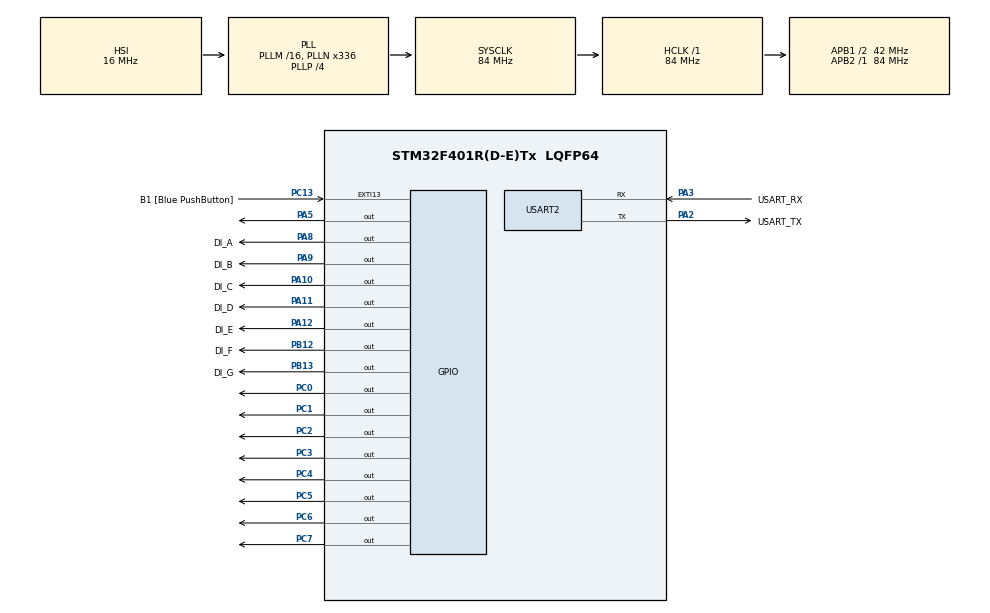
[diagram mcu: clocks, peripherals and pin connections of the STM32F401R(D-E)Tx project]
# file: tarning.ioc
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Mcu.Family=STM32F4
Mcu.Name=STM32F401R(D-E)Tx
Mcu.Package=LQFP64
NVIC.PriorityGroup=NVIC_PRIORITYGROUP_0
PA10.GPIO_Label=DI_C
PA10.Signal=GPIO_Output
PA11.GPIO_Label=DI_D
PA11.Signal=GPIO_Output
PA12.GPIO_Label=DI_E
PA12.Signal=GPIO_Output
PA13.GPIO_Label=TMS
PA13.Mode=Serial_Wire
PA13.Signal=SYS_JTMS-SWDIO
PA14.GPIO_Label=TCK
PA14.Mode=Serial_Wire
PA14.Signal=SYS_JTCK-SWCLK
PA2.GPIO_Label=USART_TX
PA2.GPIO_Mode=GPIO_MODE_AF_PP
PA2.GPIO_PuPd=GPIO_NOPULL
PA2.GPIO_Speed=GPIO_SPEED_FREQ_LOW
PA2.Mode=Asynchronous
PA2.Signal=USART2_TX
PA3.GPIO_Label=USART_RX
PA3.GPIO_Mode=GPIO_MODE_AF_PP
PA3.GPIO_PuPd=GPIO_NOPULL
PA3.GPIO_Speed=GPIO_SPEED_FREQ_LOW
PA3.Mode=Asynchronous
PA3.Signal=USART2_RX
PA5.GPIO_Mode=GPIO_MODE_OUTPUT_PP
PA5.GPIO_PuPd=GPIO_NOPULL
PA5.GPIO_Speed=GPIO_SPEED_FREQ_LOW
PA5.Signal=GPIO_Output
PA8.GPIO_Label=DI_A
PA8.Signal=GPIO_Output
PA9.GPIO_Label=DI_B
PA9.Signal=GPIO_Output
PB12.GPIO_Label=DI_F
PB12.Signal=GPIO_Output
PB13.GPIO_Label=DI_G
PB13.Signal=GPIO_Output
PB3.GPIO_Label=SWO
PB3.Signal=SYS_JTDO-SWO
PC0.Signal=GPIO_Output
PC1.Signal=GPIO_Output
PC13-ANTI_TAMP.GPIO_Label=B1 [Blue PushButton]
PC13-ANTI_TAMP.GPIO_ModeDefaultEXTI=GPIO_MODE_IT_FALLING
PC13-ANTI_TAMP.GPIO_PuPd=GPIO_NOPULL
PC13-ANTI_TAMP.Signal=GPXTI13
PC14-OSC32_IN.Mode=LSE-External-Oscillator
PC14-OSC32_IN.Signal=RCC_OSC32_IN
PC15-OSC32_OUT.Mode=LSE-External-Oscillator
PC15-OSC32_OUT.Signal=RCC_OSC32_OUT
PC2.Signal=GPIO_Output
PC3.Signal=GPIO_Output
PC4.Signal=GPIO_Output
PC5.Signal=GPIO_Output
PC6.Signal=GPIO_Output
PC7.Signal=GPIO_Output
PH0\ -\ OSC_IN.Mode=HSE-External-Clock-Source
PH0\ -\ OSC_IN.Signal=RCC_OSC_IN
PH1\ -\ OSC_OUT.Mode=HSE-External-Clock-Source
PH1\ -\ OSC_OUT.Signal=RCC_OSC_OUT
ProjectManager.HeapSize=0x200
ProjectManager.StackSize=0x400
ProjectManager.TargetToolchain=STM32CubeIDE
RCC.48MHZClocksFreq_Value=48000000
RCC.AHBFreq_Value=84000000
RCC.APB1CLKDivider=RCC_HCLK_DIV2
RCC.APB1Freq_Value=42000000
RCC.APB1TimFreq_Value=84000000
RCC.APB2Freq_Value=84000000
RCC.APB2TimFreq_Value=84000000
RCC.CortexFreq_Value=84000000
RCC.HCLKFreq_Value=84000000
RCC.HSE_VALUE=8000000
RCC.HSI_VALUE=16000000
RCC.PLLN=336
RCC.PLLP=RCC_PLLP_DIV4
RCC.PLLQ=7
RCC.SYSCLKFreq_VALUE=84000000
RCC.SYSCLKSource=RCC_SYSCLKSOURCE_PLLCLK
RCC.VCOOutputFreq_Value=336000000
USART2.VirtualMode=VM_ASYNC
board=NUCLEO-F401RE

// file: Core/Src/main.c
/* USER CODE BEGIN Header */
/**
  ******************************************************************************
  * @file           : main.c
  * @brief          : Main program body
  ******************************************************************************
  * @attention
  *
  * Copyright (c) 2024 STMicroelectronics.
  * All rights reserved.
  *
  * This software is licensed under terms that can be found in the LICENSE file
  * in the root directory of this software component.
  * If no LICENSE file comes with this software, it is provided AS-IS.
  *
  ******************************************************************************
  */

/* USER CODE END Header */
#include "main.h"

UART_HandleTypeDef huart2;

void SystemClock_Config(void);
static void MX_GPIO_Init(void);
static void MX_USART2_UART_Init(void);
/* USER CODE BEGIN PFP */
int is_blue_button_pressed();
void put_on_sseg(uint8_t dec_nbr);
void put_die_dots(uint8_t die_nbr);
/* USER CODE END PFP */

/* USER CODE BEGIN 0 */

const uint8_t sseg[10] = {0xC0, 0xCF, 0xA4, 0xB0, 0x99, 0x92, 0x82, 0xF8, 0x80, 0x90};
const uint8_t sseg_err = 0x23;

/* Function to display a digit on the 7-segment display */
void put_on_sseg(uint8_t dec_nbr) {
    if (dec_nbr <= 9) {
        // Write the correct value to the lower 8 bits of GPIOC->ODR
        GPIOC->ODR = (GPIOC->ODR & ~0xFF) | sseg[dec_nbr];
    } else {
        // Error pattern
        GPIOC->ODR = (GPIOC->ODR & ~0xFF) | sseg_err;
    }
}

// returns 1 if blue button is pressed
// returns 0 if blue button isn't pressed
int is_blue_button_pressed()
{
    // Kontrollera status för pinne 13 på GPIOC (PC13)
    if (GPIOC->IDR & (1 << 13))
    {
        return 0; // Knappen är nedtryckt (bit är satt)
    }
    else
    {
        return 1; // Knappen är inte nedtryckt (bit är ej satt)
    }
}

void put_die_dots(uint8_t die_nbr) {
    // Stäng av alla dioder först
    HAL_GPIO_WritePin(DI_A_GPIO_Port, DI_A_Pin, GPIO_PIN_RESET);
    HAL_GPIO_WritePin(DI_B_GPIO_Port, DI_B_Pin, GPIO_PIN_RESET);
    HAL_GPIO_WritePin(DI_C_GPIO_Port, DI_C_Pin, GPIO_PIN_RESET);
    HAL_GPIO_WritePin(DI_D_GPIO_Port, DI_D_Pin, GPIO_PIN_RESET);
    HAL_GPIO_WritePin(DI_E_GPIO_Port, DI_E_Pin, GPIO_PIN_RESET);
    HAL_GPIO_WritePin(DI_F_GPIO_Port, DI_F_Pin, GPIO_PIN_RESET);
    HAL_GPIO_WritePin(DI_G_GPIO_Port, DI_G_Pin, GPIO_PIN_RESET);

    // Tänd rätt dioder beroende på tärningsvärdet
    switch (die_nbr) {
        case 1:
            HAL_GPIO_WritePin(DI_D_GPIO_Port, DI_D_Pin, GPIO_PIN_SET); //
            break;
        case 2:
            HAL_GPIO_WritePin(DI_A_GPIO_Port, DI_A_Pin, GPIO_PIN_SET);  //
            HAL_GPIO_WritePin(DI_G_GPIO_Port, DI_G_Pin, GPIO_PIN_SET); //
            break;
        case 3:
            HAL_GPIO_WritePin(DI_A_GPIO_Port, DI_A_Pin, GPIO_PIN_SET);  //
            HAL_GPIO_WritePin(DI_D_GPIO_Port, DI_D_Pin, GPIO_PIN_SET); //
            HAL_GPIO_WritePin(DI_G_GPIO_Port, DI_G_Pin, GPIO_PIN_SET); //
            break;
        case 4:
            HAL_GPIO_WritePin(DI_A_GPIO_Port, DI_A_Pin, GPIO_PIN_SET);  //
            HAL_GPIO_WritePin(DI_B_GPIO_Port, DI_B_Pin, GPIO_PIN_SET);  //
            HAL_GPIO_WritePin(DI_E_GPIO_Port, DI_E_Pin, GPIO_PIN_SET); //
            HAL_GPIO_WritePin(DI_G_GPIO_Port, DI_G_Pin, GPIO_PIN_SET); //
            break;
        case 5:
            HAL_GPIO_WritePin(DI_A_GPIO_Port, DI_A_Pin, GPIO_PIN_SET);  //
            HAL_GPIO_WritePin(DI_B_GPIO_Port,DI_B_Pin, GPIO_PIN_SET);  //
            HAL_GPIO_WritePin(DI_D_GPIO_Port, DI_D_Pin, GPIO_PIN_SET); //
            HAL_GPIO_WritePin(DI_E_GPIO_Port, DI_E_Pin, GPIO_PIN_SET); //
            HAL_GPIO_WritePin(DI_G_GPIO_Port, DI_G_Pin, GPIO_PIN_SET); //
            break;
        case 6:
            HAL_GPIO_WritePin(DI_A_GPIO_Port, DI_A_Pin, GPIO_PIN_SET);  //
            HAL_GPIO_WritePin(DI_B_GPIO_Port,DI_B_Pin, GPIO_PIN_SET);  //
            HAL_GPIO_WritePin(DI_C_GPIO_Port, DI_C_Pin, GPIO_PIN_SET); //
            HAL_GPIO_WritePin(DI_F_GPIO_Port, DI_F_Pin, GPIO_PIN_SET); //
            HAL_GPIO_WritePin(DI_E_GPIO_Port, DI_E_Pin, GPIO_PIN_SET); //
            HAL_GPIO_WritePin(DI_G_GPIO_Port, DI_G_Pin, GPIO_PIN_SET); //
            break;
        default:
            // Om ogiltigt värde, tänd alla dioder
            HAL_GPIO_WritePin(DI_A_GPIO_Port, DI_A_Pin, GPIO_PIN_SET);
            HAL_GPIO_WritePin(DI_B_GPIO_Port,DI_B_Pin, GPIO_PIN_SET);
            HAL_GPIO_WritePin(DI_C_GPIO_Port, DI_C_Pin, GPIO_PIN_SET);
            HAL_GPIO_WritePin(DI_D_GPIO_Port, DI_D_Pin, GPIO_PIN_SET);
            HAL_GPIO_WritePin(DI_E_GPIO_Port, DI_E_Pin, GPIO_PIN_SET);
            HAL_GPIO_WritePin(DI_F_GPIO_Port, DI_F_Pin, GPIO_PIN_SET);
            HAL_GPIO_WritePin(DI_G_GPIO_Port, DI_G_Pin, GPIO_PIN_SET);
            break;
    }
}

/* USER CODE END 0 */

int main(void)
{

  /* MCU Configuration--------------------------------------------------------*/

  /* Reset of all peripherals, Initializes the Flash interface and the Systick. */
  HAL_Init();

  /* Configure the system clock */
  SystemClock_Config();

  /* Initialize all configured peripherals */
  MX_GPIO_Init();
  MX_USART2_UART_Init();

  /* USER CODE BEGIN 2 */
  for (uint8_t i = 0; i <= 9; i++) {
          put_on_sseg(i);
          HAL_Delay(333);  // 333 ms delay mellan varje siffra
      }
      put_on_sseg(88);  // Felmönster ska visas
  /* USER CODE END 2 */

  /* Infinite loop */
  /* USER DE BEGIN WHILE */

  uint8_t die_value = 1; // Startvärde för tärningen
   int pressed = 0;

   while (1)
   {
       pressed = is_blue_button_pressed();
       if (pressed)
       {
           // Öka tärningsvärdet när knappen är nedtryckt
           die_value++;
           if (die_value > 6) {
              die_value = 1; // Återställ till 1 om värdet blir mer än 6
           }

           // Sätt dioderna för att visa tärningsvärdet
           put_die_dots(die_value);
           put_on_sseg(die_value);
          // put_on_sseg(die_value);

           HAL_Delay(100);

       }

   }
 }

    /* USER CODE END WHILE */

void SystemClock_Config(void)
{
  RCC_OscInitTypeDef RCC_OscInitStruct = {0};
  RCC_ClkInitTypeDef RCC_ClkInitStruct = {0};

  /** Configure the main internal regulator output voltage
  */
  __HAL_RCC_PWR_CLK_ENABLE();
  __HAL_PWR_VOLTAGESCALING_CONFIG(PWR_REGULATOR_VOLTAGE_SCALE2);

  /** Initializes the RCC Oscillators according to the specified parameters
  * in the RCC_OscInitTypeDef structure.
  */
  RCC_OscInitStruct.OscillatorType = RCC_OSCILLATORTYPE_HSI;
  RCC_OscInitStruct.HSIState = RCC_HSI_ON;
  RCC_OscInitStruct.HSICalibrationValue = RCC_HSICALIBRATION_DEFAULT;
  RCC_OscInitStruct.PLL.PLLState = RCC_PLL_ON;
  RCC_OscInitStruct.PLL.PLLSource = RCC_PLLSOURCE_HSI;
  RCC_OscInitStruct.PLL.PLLM = 16;
  RCC_OscInitStruct.PLL.PLLN = 336;
  RCC_OscInitStruct.PLL.PLLP = RCC_PLLP_DIV4;
  RCC_OscInitStruct.PLL.PLLQ = 7;
  if (HAL_RCC_OscConfig(&RCC_OscInitStruct) != HAL_OK)
  {
    Error_Handler();
  }

  /** Initializes the CPU, AHB and APB buses clocks
  */
  RCC_ClkInitStruct.ClockType = RCC_CLOCKTYPE_HCLK|RCC_CLOCKTYPE_SYSCLK
                              |RCC_CLOCKTYPE_PCLK1|RCC_CLOCKTYPE_PCLK2;
  RCC_ClkInitStruct.SYSCLKSource = RCC_SYSCLKSOURCE_PLLCLK;
  RCC_ClkInitStruct.AHBCLKDivider = RCC_SYSCLK_DIV1;
  RCC_ClkInitStruct.APB1CLKDivider = RCC_HCLK_DIV2;
  RCC_ClkInitStruct.APB2CLKDivider = RCC_HCLK_DIV1;

  if (HAL_RCC_ClockConfig(&RCC_ClkInitStruct, FLASH_LATENCY_2) != HAL_OK)
  {
    Error_Handler();
  }
}

static void MX_USART2_UART_Init(void)
{

  huart2.Instance = USART2;
  huart2.Init.BaudRate = 115200;
  huart2.Init.WordLength = UART_WORDLENGTH_8B;
  huart2.Init.StopBits = UART_STOPBITS_1;
  huart2.Init.Parity = UART_PARITY_NONE;
  huart2.Init.Mode = UART_MODE_TX_RX;
  huart2.Init.HwFlowCtl = UART_HWCONTROL_NONE;
  huart2.Init.OverSampling = UART_OVERSAMPLING_16;
  if (HAL_UART_Init(&huart2) != HAL_OK)
  {
    Error_Handler();
  }

}

static void MX_GPIO_Init(void)
{
  GPIO_InitTypeDef GPIO_InitStruct = {0};

  /* GPIO Ports Clock Enable */
  __HAL_RCC_GPIOC_CLK_ENABLE();
  __HAL_RCC_GPIOH_CLK_ENABLE();
  __HAL_RCC_GPIOA_CLK_ENABLE();
  __HAL_RCC_GPIOB_CLK_ENABLE();

  /*Configure GPIO pin Output Level */
  HAL_GPIO_WritePin(GPIOC, GPIO_PIN_0|GPIO_PIN_1|GPIO_PIN_2|GPIO_PIN_3
                          |GPIO_PIN_4|GPIO_PIN_5|GPIO_PIN_6|GPIO_PIN_7, GPIO_PIN_RESET);

  /*Configure GPIO pin Output Level */
  HAL_GPIO_WritePin(GPIOA, GPIO_PIN_5|DI_A_Pin|DI_B_Pin|DI_C_Pin
                          |DI_D_Pin|DI_E_Pin, GPIO_PIN_RESET);

  /*Configure GPIO pin Output Level */
  HAL_GPIO_WritePin(GPIOB, DI_F_Pin|DI_G_Pin, GPIO_PIN_RESET);

  /*Configure GPIO pin : B1_Pin */
  GPIO_InitStruct.Pin = B1_Pin;
  GPIO_InitStruct.Mode = GPIO_MODE_IT_FALLING;
  GPIO_InitStruct.Pull = GPIO_NOPULL;
  HAL_GPIO_Init(B1_GPIO_Port, &GPIO_InitStruct);

  /*Configure GPIO pins : PC0 PC1 PC2 PC3
                           PC4 PC5 PC6 PC7 */
  GPIO_InitStruct.Pin = GPIO_PIN_0|GPIO_PIN_1|GPIO_PIN_2|GPIO_PIN_3
                          |GPIO_PIN_4|GPIO_PIN_5|GPIO_PIN_6|GPIO_PIN_7;
  GPIO_InitStruct.Mode = GPIO_MODE_OUTPUT_PP;
  GPIO_InitStruct.Pull = GPIO_NOPULL;
  GPIO_InitStruct.Speed = GPIO_SPEED_FREQ_LOW;
  HAL_GPIO_Init(GPIOC, &GPIO_InitStruct);

  /*Configure GPIO pins : PA5 DI_A_Pin DI_B_Pin DI_C_Pin
                           DI_D_Pin DI_E_Pin */
  GPIO_InitStruct.Pin = GPIO_PIN_5|DI_A_Pin|DI_B_Pin|DI_C_Pin
                          |DI_D_Pin|DI_E_Pin;
  GPIO_InitStruct.Mode = GPIO_MODE_OUTPUT_PP;
  GPIO_InitStruct.Pull = GPIO_NOPULL;
  GPIO_InitStruct.Speed = GPIO_SPEED_FREQ_LOW;
  HAL_GPIO_Init(GPIOA, &GPIO_InitStruct);

  /*Configure GPIO pins : DI_F_Pin DI_G_Pin */
  GPIO_InitStruct.Pin = DI_F_Pin|DI_G_Pin;
  GPIO_InitStruct.Mode = GPIO_MODE_OUTPUT_PP;
  GPIO_InitStruct.Pull = GPIO_NOPULL;
  GPIO_InitStruct.Speed = GPIO_SPEED_FREQ_LOW;
  HAL_GPIO_Init(GPIOB, &GPIO_InitStruct);

}

void Error_Handler(void)
{
  __disable_irq();
  while (1)
  {
  }
}
